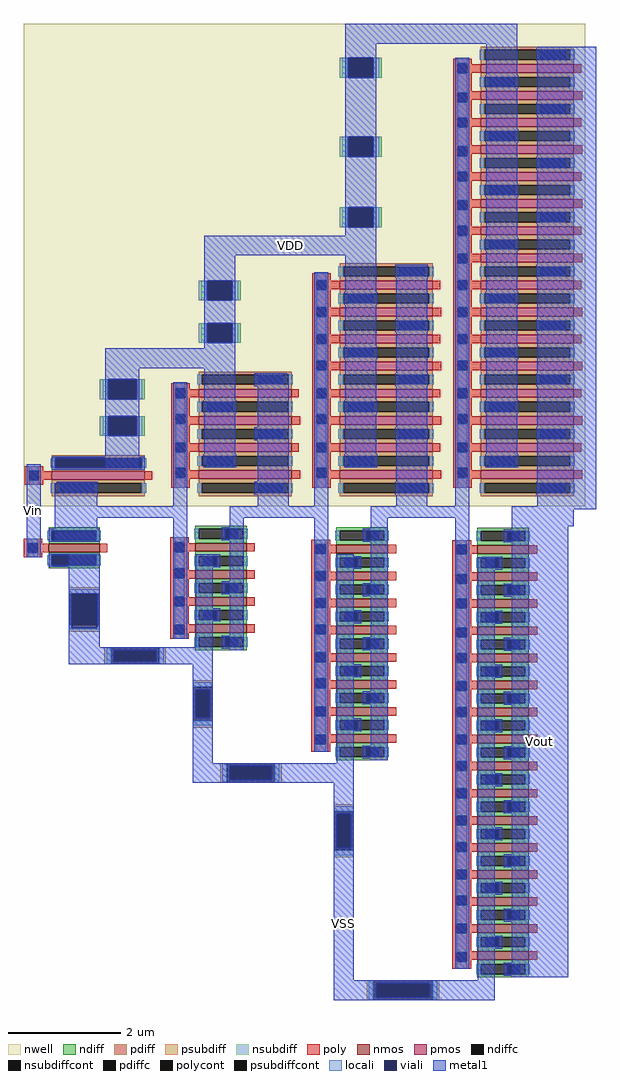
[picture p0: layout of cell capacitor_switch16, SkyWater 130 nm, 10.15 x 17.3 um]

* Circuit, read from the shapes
.subckt capacitor_switch16 VDD Vin Vout VSS
XM1 n1 Vin VSS VSS sky130_fd_pr__nfet_01v8 w=0.91 l=0.15
XM2 VSS n1 n2 VSS sky130_fd_pr__nfet_01v8 w=0.91 l=0.15 m=4
XM3 VSS n2 n3 VSS sky130_fd_pr__nfet_01v8 w=0.91 l=0.15 m=8
XM4 VSS n3 Vout VSS sky130_fd_pr__nfet_01v8 w=0.91 l=0.15 m=16
XM5 VDD Vin n1 VDD sky130_fd_pr__pfet_01v8 w=1.65 l=0.15
XM6 VDD n1 n2 VDD sky130_fd_pr__pfet_01v8 w=1.65 l=0.15 m=4
XM7 VDD n2 n3 VDD sky130_fd_pr__pfet_01v8 w=1.65 l=0.15 m=8
XM8 VDD n3 Vout VDD sky130_fd_pr__pfet_01v8 w=1.65 l=0.15 m=16
.ends

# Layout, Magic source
magic
tech sky130A
magscale 1 2
<< nwell >>
rect -300 1100 1690 2810
<< psubdiff >>
rect -140 790 -30 814
rect -140 656 -30 680
rect -14 540 10 600
rect 180 540 204 600
rect 300 460 370 484
rect 300 316 370 340
rect 396 120 420 190
rect 590 120 614 190
rect 800 20 870 44
rect 800 -144 870 -120
rect 916 -650 940 -580
rect 1150 -650 1174 -580
<< nsubdiff >>
rect 820 2620 850 2690
rect 940 2620 970 2690
rect 820 2340 850 2410
rect 940 2340 970 2410
rect 820 2090 850 2160
rect 940 2090 970 2160
rect 320 1830 350 1900
rect 440 1830 470 1900
rect 320 1680 350 1750
rect 440 1680 470 1750
rect -30 1480 0 1550
rect 100 1480 130 1550
rect -30 1350 0 1420
rect 100 1350 130 1420
<< psubdiffcont >>
rect -140 680 -30 790
rect 10 540 180 600
rect 300 340 370 460
rect 420 120 590 190
rect 800 -120 870 20
rect 940 -650 1150 -580
<< nsubdiffcont >>
rect 850 2620 940 2690
rect 850 2340 940 2410
rect 850 2090 940 2160
rect 350 1830 440 1900
rect 350 1680 440 1750
rect 0 1480 100 1550
rect 0 1350 100 1420
<< locali >>
rect 830 2620 850 2690
rect 940 2620 960 2690
rect 830 2340 850 2410
rect 940 2340 960 2410
rect 830 2090 850 2160
rect 940 2090 960 2160
rect 330 1830 350 1900
rect 440 1830 460 1900
rect 330 1680 350 1750
rect 440 1680 460 1750
rect -20 1480 0 1550
rect 100 1480 120 1550
rect -20 1350 0 1420
rect 100 1350 120 1420
rect -140 790 -30 806
rect -140 670 -130 680
rect -40 670 -30 680
rect -140 664 -30 670
rect -6 540 10 600
rect 180 540 196 600
rect 300 460 370 476
rect 300 324 370 340
rect 404 120 420 190
rect 590 120 606 190
rect 800 20 870 36
rect 800 -136 870 -120
rect 924 -650 940 -580
rect 1150 -650 1166 -580
<< viali >>
rect 850 2620 940 2690
rect 850 2340 940 2410
rect 850 2090 940 2160
rect 350 1830 440 1900
rect 350 1680 440 1750
rect 0 1480 100 1550
rect 0 1350 100 1420
rect -130 680 -40 790
rect -130 670 -40 680
rect 20 550 170 590
rect 310 350 360 450
rect 430 130 580 180
rect 810 -110 860 10
rect 950 -640 1140 -590
<< metal1 >>
rect 840 2740 1450 2810
rect 840 2690 950 2740
rect 840 2620 850 2690
rect 940 2620 950 2690
rect 840 2410 950 2620
rect 840 2340 850 2410
rect 940 2340 950 2410
rect 840 2160 950 2340
rect 840 2090 850 2160
rect 940 2090 950 2160
rect 840 2060 950 2090
rect 340 1990 950 2060
rect 340 1900 450 1990
rect 340 1830 350 1900
rect 440 1830 450 1900
rect 340 1750 450 1830
rect 340 1680 350 1750
rect 440 1680 450 1750
rect 340 1660 450 1680
rect -10 1590 450 1660
rect -10 1550 110 1590
rect -10 1480 0 1550
rect 100 1480 110 1550
rect -10 1420 110 1480
rect -10 1350 0 1420
rect 100 1350 110 1420
rect -290 920 -240 1250
rect -10 1230 110 1350
rect -190 1100 -40 1180
rect 230 1100 280 1540
rect 340 1240 450 1590
rect 530 1100 640 1570
rect 730 1100 780 1930
rect 840 1240 950 1990
rect 1020 1100 1130 1950
rect 1230 1100 1280 2690
rect 1340 1240 1450 2740
rect 1520 1100 1730 2730
rect -190 1060 280 1100
rect -190 980 -40 1060
rect -140 790 -30 930
rect -140 670 -130 790
rect -40 670 -30 790
rect -140 600 -30 670
rect 230 630 280 1060
rect 430 1060 780 1100
rect 310 600 370 930
rect -140 590 370 600
rect 430 590 480 1060
rect -140 550 20 590
rect 170 550 370 590
rect -140 540 370 550
rect 300 450 370 540
rect 300 350 310 450
rect 360 350 370 450
rect 300 190 370 350
rect 730 230 780 1060
rect 930 1060 1280 1100
rect 810 190 870 930
rect 930 200 990 1060
rect 300 180 870 190
rect 300 130 430 180
rect 580 130 870 180
rect 300 120 870 130
rect 800 10 870 120
rect 800 -110 810 10
rect 860 -110 870 10
rect 800 -580 870 -110
rect 1230 -540 1280 1060
rect 1430 1090 1730 1100
rect 1430 1030 1650 1090
rect 1310 -580 1370 920
rect 1430 -570 1630 1030
rect 800 -590 1370 -580
rect 800 -640 950 -590
rect 1140 -640 1370 -590
rect 800 -650 1370 -640
use sky130_fd_pr__pfet_01v8_BBAHKR  XM4
transform 0 1 485 -1 0 1357
box -263 -265 257 205
use sky130_fd_pr__nfet_01v8_HRFJZU  XM5
transform 0 1 899 -1 0 613
box -413 -179 413 121
use sky130_fd_pr__pfet_01v8_BBSRKR  XM6
transform 0 1 985 -1 0 1549
box -451 -265 449 205
use sky130_fd_pr__nfet_01v8_29RM5N  XM7
transform 0 1 1399 -1 0 227
box -797 -179 797 121
use sky130_fd_pr__pfet_01v8_2FR7QD  XM8
transform 0 1 1485 -1 0 1933
box -837 -265 833 205
use sky130_fd_pr__nfet_01v8_5EDJZL  sky130_fd_pr__nfet_01v8_5EDJZL_0
transform 0 1 399 -1 0 811
box -221 -179 221 121
use sky130_fd_pr__nfet_01v8_9CGS2F  sky130_fd_pr__nfet_01v8_9CGS2F_0
transform 0 1 -152 -1 0 953
box -73 -148 73 148
use sky130_fd_pr__pfet_01v8_46WN3R  sky130_fd_pr__pfet_01v8_46WN3R_0
transform 0 1 -71 1 0 1209
box -109 -229 109 263
<< labels >>
rlabel metal1 340 1990 950 2060 1 VDD
port 1 n
rlabel metal1 -290 920 -240 1250 1 Vin
port 2 n
rlabel metal1 1430 -570 1630 1100 1 Vout
port 3 n
rlabel metal1 800 -650 870 -110 1 VSS
port 4 n
<< end >>

# cell sky130_fd_pr__pfet_01v8_BBAHKR: kit device sky130_fd_pr__pfet_01v8, w 1.65 l 0.15 m 1 nf 4 diffcov 100 polycov 100 guard 0 glc 1 grc 1 gtc 1 gbc 1 tbcov 100 rlcov 100 topc 1 botc 1 poverlap 0 doverlap 1 lmin 0.15 wmin 0.42 compatible {sky130_fd_pr__pfet_01v8 sky130_fd_pr__pfet_01v8_lvt sky130_fd_pr__pfet_01v8_hvt sky130_fd_pr__pfet_g5v0d10v5} full_metal 0 viasrc +30 viadrn -30 viagate 100 viagb 0 viagr 0 viagl 0 viagt 0

# cell sky130_fd_pr__nfet_01v8_HRFJZU: kit device sky130_fd_pr__nfet_01v8, w 0.91 l 0.15 m 1 nf 8 diffcov 100 polycov 100 guard 0 glc 1 grc 1 gtc 1 gbc 1 tbcov 100 rlcov 100 topc 1 botc 1 poverlap 0 doverlap 1 lmin 0.15 wmin 0.42 compatible {sky130_fd_pr__nfet_01v8 sky130_fd_pr__nfet_01v8_lvt sky130_fd_bs_flash__special_sonosfet_star sky130_fd_pr__nfet_g5v0d10v5 sky130_fd_pr__nfet_05v0_nvt sky130_fd_pr__nfet_03v3_nvt} full_metal 0 viasrc +30 viadrn -30 viagate 100 viagb 0 viagr 0 viagl 0 viagt 0

# cell sky130_fd_pr__pfet_01v8_BBSRKR: kit device sky130_fd_pr__pfet_01v8, w 1.65 l 0.15 m 1 nf 8 diffcov 100 polycov 100 guard 0 glc 1 grc 1 gtc 1 gbc 1 tbcov 100 rlcov 100 topc 1 botc 1 poverlap 0 doverlap 1 lmin 0.15 wmin 0.42 compatible {sky130_fd_pr__pfet_01v8 sky130_fd_pr__pfet_01v8_lvt sky130_fd_pr__pfet_01v8_hvt sky130_fd_pr__pfet_g5v0d10v5} full_metal 0 viasrc +30 viadrn -30 viagate 100 viagb 0 viagr 0 viagl 0 viagt 0

# cell sky130_fd_pr__nfet_01v8_29RM5N: kit device sky130_fd_pr__nfet_01v8, w 0.91 l 0.15 m 1 nf 16 diffcov 100 polycov 100 guard 0 glc 1 grc 1 gtc 1 gbc 1 tbcov 100 rlcov 100 topc 1 botc 1 poverlap 0 doverlap 1 lmin 0.15 wmin 0.42 compatible {sky130_fd_pr__nfet_01v8 sky130_fd_pr__nfet_01v8_lvt sky130_fd_bs_flash__special_sonosfet_star sky130_fd_pr__nfet_g5v0d10v5 sky130_fd_pr__nfet_05v0_nvt sky130_fd_pr__nfet_03v3_nvt} full_metal 0 viasrc +30 viadrn -30 viagate 100 viagb 0 viagr 0 viagl 0 viagt 0

# cell sky130_fd_pr__pfet_01v8_2FR7QD: kit device sky130_fd_pr__pfet_01v8, w 1.65 l 0.15 m 1 nf 16 diffcov 100 polycov 100 guard 0 glc 1 grc 1 gtc 1 gbc 1 tbcov 100 rlcov 100 topc 1 botc 1 poverlap 0 doverlap 1 lmin 0.15 wmin 0.42 compatible {sky130_fd_pr__pfet_01v8 sky130_fd_pr__pfet_01v8_lvt sky130_fd_pr__pfet_01v8_hvt sky130_fd_pr__pfet_g5v0d10v5} full_metal 0 viasrc +30 viadrn -30 viagate 100 viagb 0 viagr 0 viagl 0 viagt 0

# cell sky130_fd_pr__nfet_01v8_5EDJZL: kit device sky130_fd_pr__nfet_01v8, w 0.91 l 0.15 m 1 nf 4 diffcov 100 polycov 100 guard 0 glc 1 grc 1 gtc 1 gbc 1 tbcov 100 rlcov 100 topc 1 botc 1 poverlap 0 doverlap 1 lmin 0.15 wmin 0.42 compatible {sky130_fd_pr__nfet_01v8 sky130_fd_pr__nfet_01v8_lvt sky130_fd_bs_flash__special_sonosfet_star sky130_fd_pr__nfet_g5v0d10v5 sky130_fd_pr__nfet_05v0_nvt sky130_fd_pr__nfet_03v3_nvt} full_metal 0 viasrc +30 viadrn -30 viagate 100 viagb 0 viagr 0 viagl 0 viagt 0

# cell sky130_fd_pr__nfet_01v8_9CGS2F: kit device sky130_fd_pr__nfet_01v8, w 0.91 l 0.15 m 1 nf 1 diffcov 100 polycov 100 guard 0 glc 1 grc 1 gtc 1 gbc 1 tbcov 100 rlcov 100 topc 0 botc 1 poverlap 0 doverlap 1 lmin 0.15 wmin 0.42 compatible {sky130_fd_pr__nfet_01v8 sky130_fd_pr__nfet_01v8_lvt sky130_fd_bs_flash__special_sonosfet_star sky130_fd_pr__nfet_g5v0d10v5 sky130_fd_pr__nfet_05v0_nvt sky130_fd_pr__nfet_03v3_nvt} full_metal 0 viasrc 100 viadrn 100 viagate 100 viagb 0 viagr 0 viagl 0 viagt 0

# cell sky130_fd_pr__pfet_01v8_46WN3R: kit device sky130_fd_pr__pfet_01v8, w 1.65 l 0.15 m 1 nf 1 diffcov 100 polycov 100 guard 0 glc 1 grc 1 gtc 1 gbc 1 tbcov 100 rlcov 100 topc 0 botc 1 poverlap 0 doverlap 1 lmin 0.15 wmin 0.42 compatible {sky130_fd_pr__pfet_01v8 sky130_fd_pr__pfet_01v8_lvt sky130_fd_pr__pfet_01v8_hvt sky130_fd_pr__pfet_g5v0d10v5} full_metal 0 viasrc 100 viadrn +40 viagate 100 viagb 0 viagr 0 viagl 0 viagt 0
